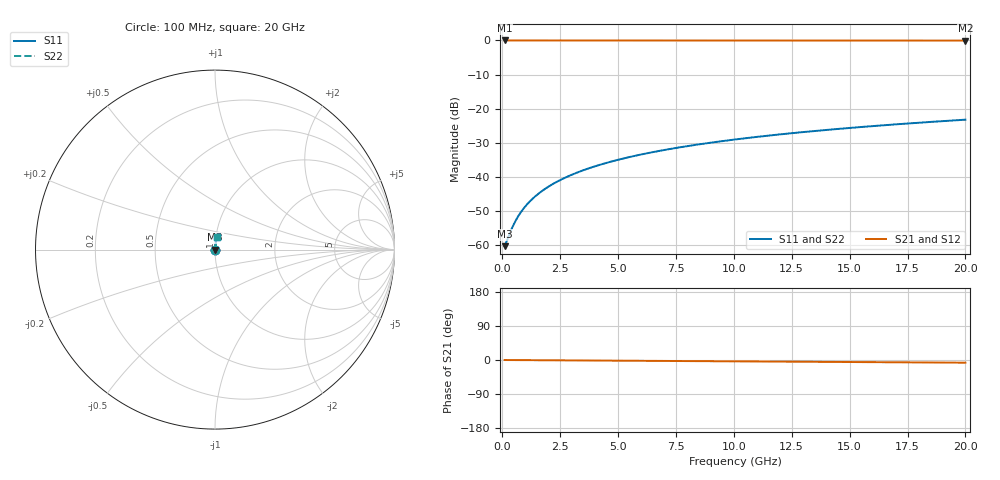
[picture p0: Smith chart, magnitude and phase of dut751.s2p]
! Touchstone file exported from HFSS 2026.1.0
!  File:  C:/ffzhzh/LocalFiles/Ansys_Project_Files/temp_train_TSV_751_1783183030_51560.aedt
!  Generated:  12:39:29 AM Jul  5, 2026
!  Design:  TSV
!  Project:  temp_train_TSV_751_1783183030_51560
! Variables:
!  h_bsmrdl = 2um
!  h_ox = 20um
!  h_rdl = 5um
!  h_sub = 57um
!  h_tmrdl = 5um
!  h_tsv = 57um
!  h_via = 3um
!  l_bsmrdl = 300um
!  l_sub = 405.48um
!  l_tmrdl = 200um
!  m_sub = 200um
!  pitch = 30.32um
!  r_tsv = 2.74um
!  s_tmrdl = 10um
!  w_bsmrdl = 18um
!  w_sub = 500um
!  w_tmrdl = 12um
!  x_tsv_center1 = 206um
!  x_tsv_center2 = 524um
!  x_tsv_center3 = 736um
!  x_tsv_center4 = 1054um
!  x_tsv_center5 = 1266um
!  x_tsv_center6 = 1584um
# GHz S MA R 50.000000
! Terminal data exported
! Port[1] = TSV1_1_T1
! Port[2] = TSV1_1_T2
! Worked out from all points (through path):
!   200 points, 100 MHz to 20 GHz, reference 50 ohm
!   highest |S21| = -0.01 dB at 100 MHz (marker M1); lowest = 0.0 dB at 20 GHz (marker M2)
!   lowest |S11| = -60.2 dB at 100 MHz (marker M3), VSWR 1.00, Z = 50.1 + j0.037 ohm
!   |S11| at or under -10 dB: start of sweep to end of sweep
!   |S22| runs from -60.2 to -23.2 dB; largest |S21 - S12| = 7.1e-15
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0.1  0.0009745 22.3  0.9991 -0.0  0.9991 -0.0  0.0009745 22.3
! Gamma 0 0 0 0
! Port Impedance 50 0 50 0
0.4  0.001732 57.7  0.9991 -0.1  0.9991 -0.1  0.001732 57.7
0.5  0.00205 62.8  0.9991 -0.2  0.9991 -0.2  0.00205 62.8
0.6  0.002378 66.6  0.9991 -0.2  0.9991 -0.2  0.002378 66.6
0.7  0.002713 69.4  0.9991 -0.3  0.9991 -0.3  0.002713 69.4
0.9  0.003397 73.4  0.999 -0.3  0.999 -0.3  0.003397 73.4
1.1  0.004091 76.0  0.999 -0.4  0.999 -0.4  0.004091 76.0
1.3  0.004792 77.8  0.999 -0.5  0.999 -0.5  0.004792 77.8
1.7  0.006203 80.2  0.999 -0.6  0.999 -0.6  0.006203 80.2
2.2  0.007978 81.9  0.999 -0.8  0.999 -0.8  0.007978 81.9
2.8  0.01011 83.0  0.9989 -1.0  0.9989 -1.0  0.01011 83.0
3.5  0.0126 83.7  0.9988 -1.3  0.9988 -1.3  0.0126 83.7
4.2  0.01508 84.1  0.9987 -1.5  0.9987 -1.5  0.01508 84.1
5  0.01791 84.2  0.9986 -1.8  0.9986 -1.8  0.01791 84.2
5.9  0.02108 84.2  0.9984 -2.1  0.9984 -2.1  0.02108 84.2
6.8  0.02424 84.2  0.9983 -2.5  0.9983 -2.5  0.02424 84.2
8.3  0.02946 83.9  0.998 -3.0  0.998 -3.0  0.02946 83.9
10.1  0.03567 83.5  0.9976 -3.6  0.9976 -3.6  0.03567 83.5
11.7  0.04116 83.1  0.9972 -4.2  0.9972 -4.2  0.04116 83.1
13.4  0.04696 82.6  0.9968 -4.8  0.9968 -4.8  0.04696 82.6
16.7  0.05813 81.7  0.9959 -5.9  0.9959 -5.9  0.05813 81.7
20  0.06922 80.7  0.9949 -7.1  0.9949 -7.1  0.06922 80.7
